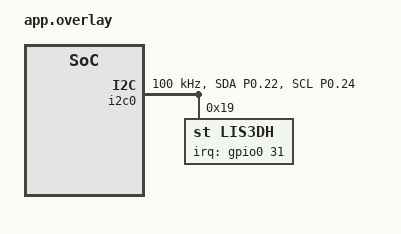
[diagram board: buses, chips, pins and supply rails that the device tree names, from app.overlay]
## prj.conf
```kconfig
CONFIG_GPIO=y
CONFIG_PM=y
CONFIG_POWEROFF=y

CONFIG_SERIAL=n
CONFIG_CONSOLE=n
CONFIG_UART_CONSOLE=n
CONFIG_LOG=n
CONFIG_PRINTK=n
CONFIG_BUILD_OUTPUT_UF2=y
```

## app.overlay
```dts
&pinctrl {
    i2c0_default: i2c0_default {
        group1 {
            psels =
                <NRF_PSEL(TWIM_SDA, 0, 22)>,
                <NRF_PSEL(TWIM_SCL, 0, 24)>;
            bias-pull-up;
        };
    };

    i2c0_sleep: i2c0_sleep {
        group1 {
            psels =
                <NRF_PSEL(TWIM_SDA, 0, 22)>,
                <NRF_PSEL(TWIM_SCL, 0, 24)>;
            low-power-enable;
        };
    };
};

&i2c0 {
    status = "okay";
    /* Point to BOTH default and sleep states to satisfy Nordic's pinctrl engine */
    pinctrl-0 = <&i2c0_default>;
    pinctrl-1 = <&i2c0_sleep>;
    pinctrl-names = "default", "sleep";
    
    clock-frequency = <100000>; 

    lis3dh@19 {
        compatible = "st,lis3dh", "st,lis2dh";
        reg = <0x19>;
        
        /* Interrupt pin on P0.31 */
        irq-gpios = <&gpio0 31 (GPIO_ACTIVE_HIGH | GPIO_PULL_DOWN)>;
        anym-on-int1; 
    };
};
```

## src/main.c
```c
#include <zephyr/kernel.h>
#include <zephyr/sys/poweroff.h>

#include <hal/nrf_gpio.h>

#define WAKEUP_PIN 11

static void configure_wakeup_pin(void)
{

    nrf_gpio_cfg_sense_input(
        WAKEUP_PIN,
        NRF_GPIO_PIN_PULLDOWN,
        NRF_GPIO_PIN_SENSE_HIGH
    );
}

int main(void)
{
    k_sleep(K_SECONDS(2));

    configure_wakeup_pin();

    k_sleep(K_MSEC(100));

    sys_poweroff();

    while (1) {
    }
}
```
